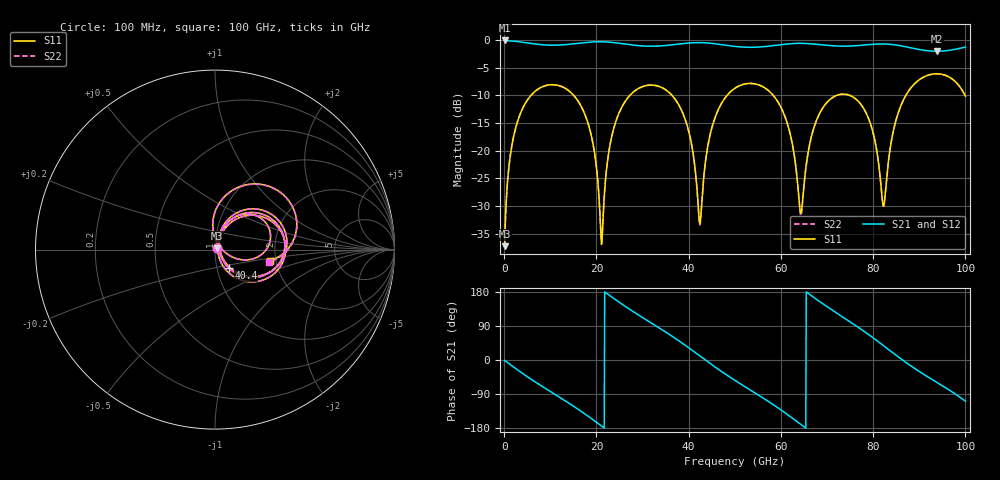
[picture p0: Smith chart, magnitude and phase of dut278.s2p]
! Touchstone file exported from HFSS 2026.1.0
!  File:  C:/ffzhzh/LocalFiles/Ansys_Project_Files/temp_train_TSV_RDL_278_1783677703_29156.aedt
!  Generated:  06:11:47 PM Jul 10, 2026
!  Design:  TSV_RDL
!  Project:  temp_train_TSV_RDL_278_1783677703_29156
! Variables:
!  h_bsmrdl = 3.59um
!  h_ox = 20um
!  h_rdl = 5um
!  h_sub = 62.32um
!  h_tmrdl = 2.91um
!  h_tsv = 62.32um
!  h_via = 3um
!  l_bsmrdl = 406.8um
!  l_sub = 2860.65um
!  l_tmrdl = 271.13um
!  m_sub = 200um
!  pitch = 45.27um
!  r_tsv = 10.01um
!  s_tmrdl = 10um
!  w_bsmrdl = 26.26um
!  w_sub = 500um
!  w_tmrdl = 25.65um
!  x_tsv_center1 = 283.955um
!  x_tsv_center2 = 717.015um
!  x_tsv_center3 = 1013.795um
!  x_tsv_center4 = 1446.855um
!  x_tsv_center5 = 1743.635um
!  x_tsv_center6 = 2176.695um
# GHz S MA R 50.000000
! Terminal data exported
! Port[1] = TM_RDL1_1_T1
! Port[2] = TM_RDL5_1_T1
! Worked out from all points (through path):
!   1000 points, 100 MHz to 100 GHz, reference 50 ohm
!   highest |S21| = -0.10 dB at 100 MHz (marker M1); lowest = -2.1 dB at 93.8 GHz (marker M2)
!   group delay of S21, straight-line fit = 23 ps
!   lowest |S11| = -37.3 dB at 100 MHz (marker M3), VSWR 1.03, Z = 51.1 + j0.772 ohm
!   |S11| at or under -10 dB: 15.05 GHz to 27.29 GHz (12.24 GHz wide, 57.8 % of centre); 58.31 GHz to 72.18 GHz (13.88 GHz wide, 21.3 % of centre); 74.86 GHz to 87.11 GHz (12.25 GHz wide, 15.1 % of centre) (the widest 3 of 6)
!   |S22| runs from -37.3 to -6.1 dB; largest |S21 - S12| = 7.6e-14
!   S11 on the Smith chart (normalised r, x): 100 MHz: 1.02, +0.02; 40.4 GHz: 1.14, -0.24; 100 GHz: 1.85, -0.26
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0.1  0.01367 33.5  0.9887 -1.0  0.9887 -1.0  0.01367 33.5
! Gamma 0 0 0 0
! Port Impedance 50 0 50 0
1.7  0.1127 66.3  0.9776 -15.5  0.9776 -15.5  0.1127 66.3
4.9  0.2805 43.1  0.9403 -43.1  0.9403 -43.1  0.2805 43.1
16.8  0.2461 -45.9  0.9392 -136.3  0.9392 -136.3  0.2461 -45.8
19.4  0.1072 -63.6  0.9594 -158.8  0.9594 -158.8  0.1072 -63.2
21.1  0.01414 -3.0  0.962 -174.0  0.962 -174.0  0.01503 -2.3
24.8  0.213 58.7  0.9348 153.6  0.9348 153.6  0.2132 58.3
33.4  0.3819 -4.3  0.8801 86.3  0.8801 86.3  0.3821 -4.5
40.4  0.1272 -53.1  0.9398 28.9  0.9398 28.9  0.1273 -53.6
42.5  0.02231 20.1  0.9448 10.1  0.9448 10.1  0.02159 19.9
45.2  0.17 68.1  0.9283 -13.9  0.9283 -13.9  0.1698 68.1
50.1  0.3673 33.2  0.8728 -54.2  0.8728 -54.2  0.3672 33.1
59.7  0.26 -35.3  0.9032 -129.1  0.9032 -129.1  0.2601 -35.7
64.3  0.02717 5.8  0.9315 -169.7  0.9315 -169.7  0.02575 4.9
66.7  0.1382 67.6  0.9214 168.9  0.9214 168.9  0.1377 68.0
75.8  0.3018 5.1  0.8833 94.3  0.8833 94.3  0.3016 5.1
79.7  0.1601 -20.7  0.9114 61.1  0.9114 61.1  0.1599 -20.8
82.2  0.03144 30.5  0.9195 38.3  0.9195 38.3  0.03145 30.4
83.4  0.08542 94.0  0.9148 27.1  0.9148 27.1  0.08546 93.8
87  0.3104 78.5  0.8678 -5.6  0.8678 -5.6  0.3104 78.2
93.8  0.4939 30.7  0.7897 -58.9  0.7897 -58.9  0.4937 30.3
100  0.3106 -11.6  0.8608 -108.7  0.8608 -108.7  0.3098 -12.7
